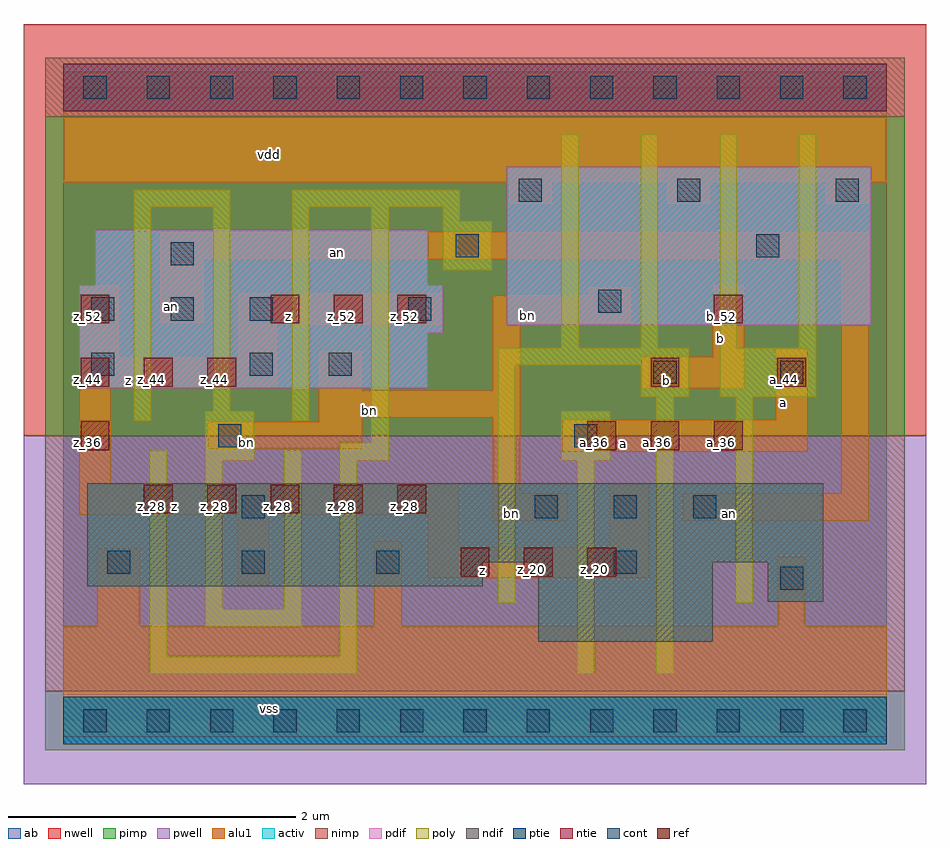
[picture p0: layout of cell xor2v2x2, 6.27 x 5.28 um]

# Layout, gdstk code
import gdstk
lib = gdstk.Library(unit=1e-6, precision=2.5e-09)
def R(c, l, rs):  # rectangles x0, y0, x1, y1
    for r in rs: c.add(gdstk.rectangle(r[:2], r[2:], *l))
def A(c, l, x, y, w, h, nx, ny, dx, dy):  # array of equal rectangles
    R(c, l, [(x+i*dx, y+j*dy, x+i*dx+w, y+j*dy+h) for i in range(nx) for j in range(ny)])
ndif = (3, 0)
pdif = (4, 0)
ntie = (5, 0)
ptie = (6, 0)
ref = (24, 0)
cont = (25, 0)
pwell = (41, 0)
nwell = (42, 0)
activ = (43, 0)
pimp = (44, 0)
nimp = (45, 0)
poly = (46, 0)
alu1 = (49, 0)
ab = (63, 0)

xor2v2x2 = lib.new_cell('xor2v2x2')
R(xor2v2x2, ndif, [(3.3,0.55,4.51,1.1), (4.895,0.825,5.28,1.1), (0.165,0.935,2.915,1.1), (0.165,1.1,5.28,1.65)])
R(xor2v2x2, pdif, [(0.11,2.31,2.53,2.695), (0.11,2.695,2.64,3.025), (3.08,2.75,5.61,3.85), (0.22,3.025,2.53,3.41)])
R(xor2v2x2, ntie, [(0,4.235,5.72,4.565)])
R(xor2v2x2, ptie, [(0,-0.165,5.72,0.165)])
A(xor2v2x2, ref, 2.76, 1, 0.2, 0.2, 3, 1, 0.44, 0)
A(xor2v2x2, ref, 0.56, 1.44, 0.2, 0.2, 5, 1, 0.44, 0)
A(xor2v2x2, ref, 3.64, 1.88, 0.2, 0.2, 3, 1, 0.44, 0)
A(xor2v2x2, ref, 0.12, 2.32, 0.2, 0.2, 3, 1, 0.44, 0)
A(xor2v2x2, ref, 1.44, 2.76, 0.2, 0.2, 3, 1, 0.44, 0)
R(xor2v2x2, ref, [(0.12,1.88,0.32,2.08), (4.08,2.32,4.28,2.52), (4.96,2.32,5.16,2.52), (0.12,2.76,0.32,2.96), (4.52,2.76,4.72,2.96)])
A(xor2v2x2, cont, 0.14, -0.08, 0.16, 0.16, 13, 2, 0.44, 4.4)
A(xor2v2x2, cont, 0.305, 1.02, 0.16, 0.16, 3, 1, 0.935, 0)
A(xor2v2x2, cont, 3.275, 1.405, 0.16, 0.16, 3, 1, 0.55, 0)
A(xor2v2x2, cont, 0.195, 2.78, 0.16, 0.16, 3, 1, 0.55, 0)
A(xor2v2x2, cont, 3.165, 3.605, 0.16, 0.16, 3, 1, 1.1, 0)
R(xor2v2x2, cont, [(4.98,0.91,5.14,1.07), (3.825,1.02,3.985,1.18), (1.24,1.405,1.4,1.565), (1.075,1.9,1.235,2.06), (3.55,1.9,3.71,2.06), (4.1,2.34,4.26,2.5), (4.98,2.34,5.14,2.5), (0.195,2.395,0.355,2.555), (1.295,2.395,1.455,2.555), (1.845,2.395,2.005,2.555), (2.395,2.78,2.555,2.94), (3.715,2.835,3.875,2.995), (0.745,3.165,0.905,3.325), (2.725,3.22,2.885,3.38), (4.815,3.22,4.975,3.38)])
R(xor2v2x2, pwell, [(-0.275,-0.44,5.995,1.98)])
R(xor2v2x2, nwell, [(-0.275,1.98,5.995,4.84)])
R(xor2v2x2, activ, [(0,-0.165,5.72,0.165), (3.3,0.55,4.51,1.1), (4.895,0.825,5.28,1.1), (0.165,0.935,2.915,1.1), (0.165,1.1,5.28,1.65), (0.11,2.31,2.53,2.695), (0.11,2.695,2.64,3.025), (3.08,2.75,5.61,3.85), (0.22,3.025,2.53,3.41), (0,4.235,5.72,4.565)])
R(xor2v2x2, pimp, [(-0.125,-0.205,5.845,0.205), (-0.125,1.98,5.845,4.195)])
R(xor2v2x2, nimp, [(-0.125,0.205,5.845,1.98), (-0.125,4.195,5.845,4.605)])
A(xor2v2x2, poly, 3.46, 2.59, 0.12, 1.485, 4, 1, 0.55, 0)
R(xor2v2x2, poly, [(0.6,0.325,2.04,0.445), (3.57,0.325,3.69,1.81), (4.12,0.325,4.24,2.25), (0.6,0.445,0.72,1.875), (1.92,0.445,2.04,1.81), (0.985,0.655,1.655,0.775), (0.985,0.775,1.105,1.81), (1.535,0.775,1.655,1.875), (3.02,0.82,3.14,2.47), (4.67,0.82,4.79,2.25), (0.985,1.81,1.325,2.15), (1.92,1.81,2.26,1.93), (3.46,1.81,3.8,2.15), (2.14,1.93,2.26,3.57), (0.49,2.085,0.61,3.57), (1.59,2.085,1.71,3.57), (1.04,2.15,1.16,3.57), (4.01,2.25,4.35,2.47), (4.56,2.25,5.23,2.59), (3.02,2.47,4.35,2.59), (2.635,3.13,2.975,3.47), (2.635,3.47,2.755,3.57), (0.49,3.57,1.16,3.69), (1.59,3.57,2.755,3.69)])
A(xor2v2x2, alu1, 3.095, 3.59, 0.3, 0.15, 3, 1, 1.1, 0)
R(xor2v2x2, alu1, [(0,-0.11,5.72,0.66), (0.235,0.66,0.535,1.195), (2.16,0.66,2.35,1.25), (4.965,0.66,5.155,1.14), (1.21,0.935,1.43,1.43), (2.53,0.99,4.07,1.21), (2.53,1.21,2.75,1.43), (3.795,1.21,4.07,1.65), (2.985,1.39,3.505,1.58), (4.305,1.39,5.595,1.58), (0.11,1.43,2.75,1.65), (2.985,1.58,3.175,2.105), (5.405,1.58,5.595,3.205), (0.11,1.65,0.33,2.31), (3.465,1.87,5.17,2.09), (1.005,1.885,2.075,2.075), (1.775,2.075,2.075,2.105), (4.95,2.09,5.17,2.585), (1.775,2.105,3.175,2.295), (1.775,2.295,2.075,2.57), (2.985,2.295,3.175,2.765), (0.11,2.31,1.485,2.53), (4.015,2.31,4.73,2.53), (0.11,2.53,0.385,3.025), (1.21,2.53,1.485,2.75), (4.51,2.53,4.73,3.025), (1.21,2.75,2.64,2.97), (0.675,2.765,0.975,3.205), (2.985,2.765,3.945,2.955), (3.645,2.955,3.945,3.01), (0.675,3.205,5.595,3.395), (0,3.74,5.72,4.51)])
R(xor2v2x2, ab, [(0,0,5.72,4.4)])
xor2v2x2.add(gdstk.Label('vss', (1.43,0.0825), layer=49, texttype=0))
xor2v2x2.add(gdstk.Label('z', (2.915,1.045), layer=49, texttype=0))
xor2v2x2.add(gdstk.Label('an', (4.6275,1.4375), layer=49, texttype=0))
xor2v2x2.add(gdstk.Label('bn', (3.115,1.4375), layer=49, texttype=0))
xor2v2x2.add(gdstk.Label('a', (3.89,1.925), layer=49, texttype=0))
xor2v2x2.add(gdstk.Label('a', (5.005,2.2125), layer=49, texttype=0))
xor2v2x2.add(gdstk.Label('z', (0.77,1.485), layer=49, texttype=0))
xor2v2x2.add(gdstk.Label('bn', (1.2725,1.9325), layer=49, texttype=0))
xor2v2x2.add(gdstk.Label('bn', (2.125,2.1525), layer=49, texttype=0))
xor2v2x2.add(gdstk.Label('b', (4.1925,2.365), layer=49, texttype=0))
xor2v2x2.add(gdstk.Label('b', (4.565,2.6525), layer=49, texttype=0))
xor2v2x2.add(gdstk.Label('z', (0.4525,2.365), layer=49, texttype=0))
xor2v2x2.add(gdstk.Label('bn', (3.225,2.8125), layer=49, texttype=0))
xor2v2x2.add(gdstk.Label('z', (1.5675,2.805), layer=49, texttype=0))
xor2v2x2.add(gdstk.Label('an', (0.75,2.875), layer=49, texttype=0))
xor2v2x2.add(gdstk.Label('an', (1.905,3.2525), layer=49, texttype=0))
xor2v2x2.add(gdstk.Label('vdd', (1.43,3.9325), layer=49, texttype=0))
xor2v2x2.add(gdstk.Label('z_28', (0.61,1.49), layer=24, texttype=0))
xor2v2x2.add(gdstk.Label('z_28', (1.05,1.49), layer=24, texttype=0))
xor2v2x2.add(gdstk.Label('z_28', (1.49,1.49), layer=24, texttype=0))
xor2v2x2.add(gdstk.Label('z_28', (1.93,1.49), layer=24, texttype=0))
xor2v2x2.add(gdstk.Label('z_36', (0.17,1.93), layer=24, texttype=0))
xor2v2x2.add(gdstk.Label('z_44', (0.17,2.37), layer=24, texttype=0))
xor2v2x2.add(gdstk.Label('z_52', (0.17,2.81), layer=24, texttype=0))
xor2v2x2.add(gdstk.Label('z_28', (2.37,1.49), layer=24, texttype=0))
xor2v2x2.add(gdstk.Label('z_20', (2.81,1.05), layer=24, texttype=0))
xor2v2x2.add(gdstk.Label('z_20', (3.25,1.05), layer=24, texttype=0))
xor2v2x2.add(gdstk.Label('z_20', (3.69,1.05), layer=24, texttype=0))
xor2v2x2.add(gdstk.Label('b_44', (4.13,2.37), layer=24, texttype=0))
xor2v2x2.add(gdstk.Label('a_36', (4.57,1.93), layer=24, texttype=0))
xor2v2x2.add(gdstk.Label('a_36', (4.13,1.93), layer=24, texttype=0))
xor2v2x2.add(gdstk.Label('a_36', (3.69,1.93), layer=24, texttype=0))
xor2v2x2.add(gdstk.Label('a_44', (5.01,2.37), layer=24, texttype=0))
xor2v2x2.add(gdstk.Label('z_44', (0.61,2.37), layer=24, texttype=0))
xor2v2x2.add(gdstk.Label('z_44', (1.05,2.37), layer=24, texttype=0))
xor2v2x2.add(gdstk.Label('z_52', (1.49,2.81), layer=24, texttype=0))
xor2v2x2.add(gdstk.Label('z_52', (1.93,2.81), layer=24, texttype=0))
xor2v2x2.add(gdstk.Label('z_52', (2.37,2.81), layer=24, texttype=0))
xor2v2x2.add(gdstk.Label('b_52', (4.57,2.81), layer=24, texttype=0))

lib.write_gds('xor2v2x2.gds')
